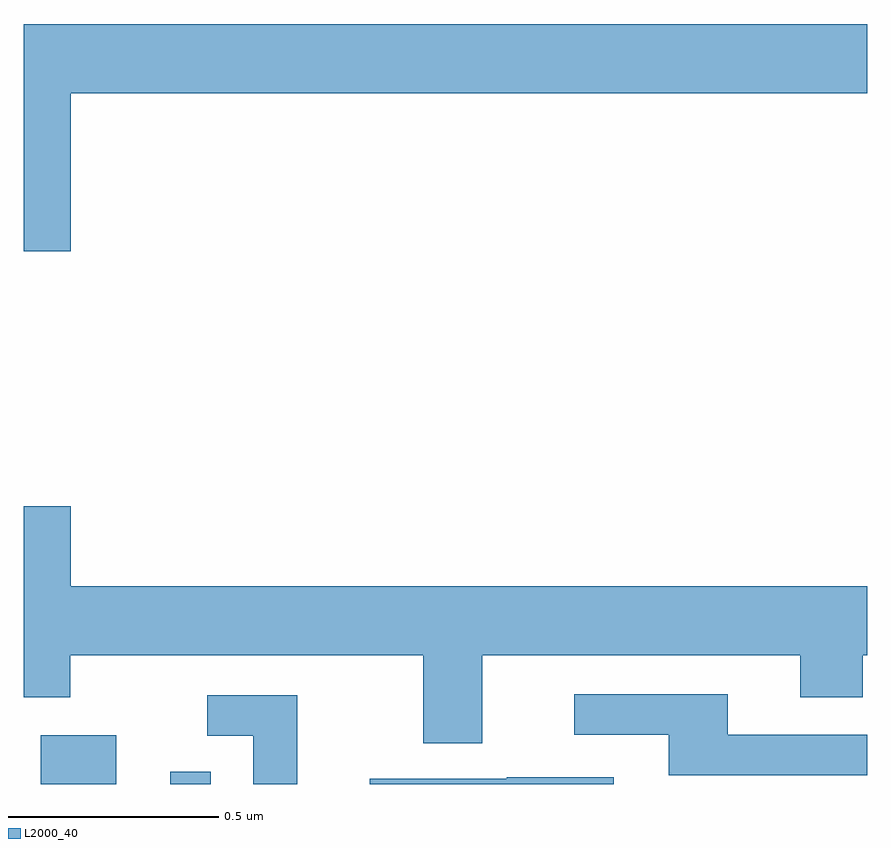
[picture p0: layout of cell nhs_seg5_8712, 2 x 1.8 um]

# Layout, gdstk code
import gdstk
lib = gdstk.Library(unit=1e-6, precision=1e-09)
def R(c, l, rs):  # rectangles x0, y0, x1, y1
    for r in rs: c.add(gdstk.rectangle(r[:2], r[2:], *l))
def P(c, l, *ps):  # polygons
    for p in ps: c.add(gdstk.Polygon(p, *l))
L2000_40 = (2000, 40)

nhs_seg5_8712 = lib.new_cell('nhs_seg5_8712')
R(nhs_seg5_8712, L2000_40, [(225.041,845.799,225.22,845.914), (225.348,845.799,225.444,845.828)])
P(nhs_seg5_8712, L2000_40, [(225.112,847.436),(227,847.436),(227,847.6),(225,847.6),(225,847.062),(225.112,847.062)],
  [(226.087,846.104),(226.841,846.104),(226.841,846.005),(226.989,846.005),(226.989,846.104),(227,846.104),(227,846.268),(225.112,846.268),(225.112,846.457),(225,846.457),(225,846.005),(225.111,846.005),(225.111,846.104),(225.947,846.104),(225.947,845.896),(226.087,845.896)],
  [(227,845.916),(226.669,845.916),(226.669,846.012),(226.305,846.012),(226.305,845.916),(226.529,845.916),(226.529,845.82),(227,845.82)],
  [(225.649,846.009),(225.435,846.009),(225.435,845.913),(225.545,845.913),(225.545,845.799),(225.649,845.799)],
  [(226.399,845.815),(226.145,845.815),(226.145,845.811),(225.821,845.811),(225.821,845.799),(226.399,845.799)])

lib.write_gds('nhs_seg5_8712.gds')
